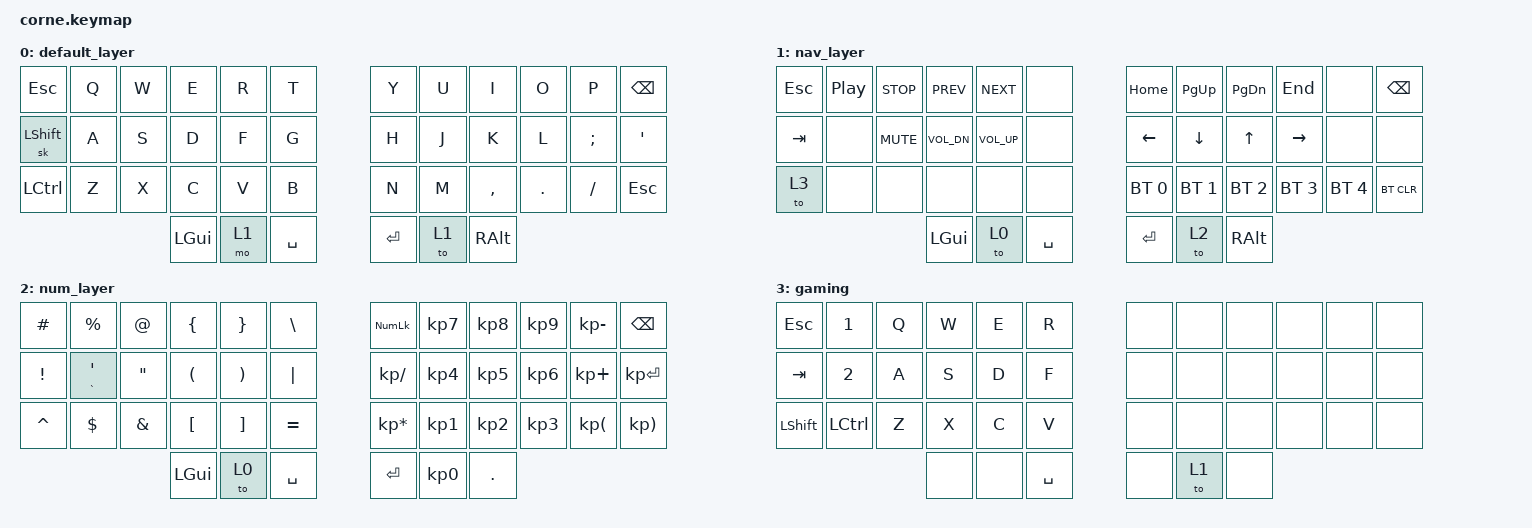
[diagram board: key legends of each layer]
/*
 * Copyright (c) 2020 The ZMK Contributors
 *
 * SPDX-License-Identifier: MIT
 */

#include <behaviors.dtsi>
#include <dt-bindings/zmk/bt.h>
#include <dt-bindings/zmk/keys.h>

/ {
    behaviors {
        td: tapdance {
            compatible = "zmk,behavior-hold-tap";
            label = "Tap Dance";
            bindings = <&kp>, <&kp>;

            #binding-cells = <2>;
            tapping-term-ms = <200>;
            quick-tap-ms = <200>;
            flavor = "tap-preferred";
        };
    };

    keymap {
        compatible = "zmk,keymap";

        default_layer {
            // -----------------------------------------------------------------------------------------
            // |  TAB |  Q  |  W  |  E  |  R  |  T  |   |  Y  |  U   |  I  |  O  |  P  | BSPC |
            // | CTRL |  A  |  S  |  D  |  F  |  G  |   |  H  |  J   |  K  |  L  |  ;  |  '   |
            // | SHFT |  Z  |  X  |  C  |  V  |  B  |   |  N  |  M   |  ,  |  .  |  /  | ESC  |
            //                    | GUI | LWR | SPC |   | ENT | RSE  | ALT |

            bindings = <
&kp ESCAPE  &kp Q  &kp W  &kp E     &kp R  &kp T        &kp Y    &kp U  &kp I      &kp O    &kp P     &kp BSPC
&sk LSHIFT  &kp A  &kp S  &kp D     &kp F  &kp G        &kp H    &kp J  &kp K      &kp L    &kp SEMI  &kp SQT
&kp LCTRL   &kp Z  &kp X  &kp C     &kp V  &kp B        &kp N    &kp M  &kp COMMA  &kp DOT  &kp FSLH  &kp ESC
                          &kp LGUI  &mo 1  &kp SPACE    &kp RET  &to 1  &kp RALT
            >;
        };

        nav_layer {
            // -----------------------------------------------------------------------------------------
            // |  TAB |  1  |  2  |  3  |  4  |  5  |   |  6  |  7  |  8  |  9  |  0  | BSPC |
            // | BTCLR| BT1 | BT2 | BT3 | BT4 | BT5 |   | LFT | DWN |  UP | RGT |     |      |
            // | SHFT |     |     |     |     |     |   |     |     |     |     |     |      |
            //                    | GUI |     | SPC |   | ENT |     | ALT |

            bindings = <
&kp ESCAPE  &kp C_PP  &kp C_STOP  &kp C_PREV    &kp C_NEXT    &none        &kp HOME      &kp PG_UP     &kp PAGE_DOWN  &kp END       &none         &kp BSPC
&kp TAB     &none     &kp K_MUTE  &kp C_VOL_DN  &kp C_VOL_UP  &none        &kp LEFT      &kp DOWN      &kp UP         &kp RIGHT     &none         &none
&to 3       &none     &none       &none         &none         &none        &bt BT_SEL 0  &bt BT_SEL 1  &bt BT_SEL 2   &bt BT_SEL 3  &bt BT_SEL 4  &bt BT_CLR
                                  &kp LGUI      &to 0         &kp SPACE    &kp RET       &to 2         &kp RALT
            >;
        };

        num_layer {
            // -----------------------------------------------------------------------------------------
            // |  TAB |  !  |  @  |  #  |  $  |  %  |   |  ^  |  &  |  *  |  (  |  )  | BSPC |
            // | CTRL |     |     |     |     |     |   |  -  |  =  |  [  |  ]  |  \  |  `   |
            // | SHFT |     |     |     |     |     |   |  _  |  +  |  {  |  }  | "|" |  ~   |
            //                    | GUI |     | SPC |   | ENT |     | ALT |

            bindings = <
&kp HASH         &kp PRCNT      &kp AT    &kp LEFT_BRACE        &kp RIGHT_BRACE        &kp BACKSLASH    &kp KP_NUMLOCK   &kp KP_NUMBER_7  &kp KP_NUMBER_8  &kp KP_NUMBER_9  &kp KP_MINUS             &kp BSPC
&kp EXCLAMATION  &td GRAVE SQT  &kp DQT   &kp LEFT_PARENTHESIS  &kp RIGHT_PARENTHESIS  &kp PIPE         &kp KP_DIVIDE    &kp KP_NUMBER_4  &kp KP_NUMBER_5  &kp KP_NUMBER_6  &kp KP_PLUS              &kp KP_ENTER
&kp CARET        &kp DLLR       &kp AMPS  &kp LEFT_BRACKET      &kp RIGHT_BRACKET      &kp EQUAL        &kp KP_MULTIPLY  &kp KP_N1        &kp KP_N2        &kp KP_N3        &kp KP_LEFT_PARENTHESIS  &kp KP_RIGHT_PARENTHESIS
                                          &kp LGUI              &to 0                  &kp SPACE        &kp RET          &kp KP_N0        &kp DOT
            >;
        };

        gaming {
            bindings = <
&kp ESC    &kp N1     &kp Q  &kp W  &kp E  &kp R        &none  &none  &none  &none  &none  &none
&kp TAB    &kp N2     &kp A  &kp S  &kp D  &kp F        &none  &none  &none  &none  &none  &none
&kp LSHFT  &kp LCTRL  &kp Z  &kp X  &kp C  &kp V        &none  &none  &none  &none  &none  &none
                             &none  &none  &kp SPACE    &none  &to 1  &none
            >;
        };
    };
};
